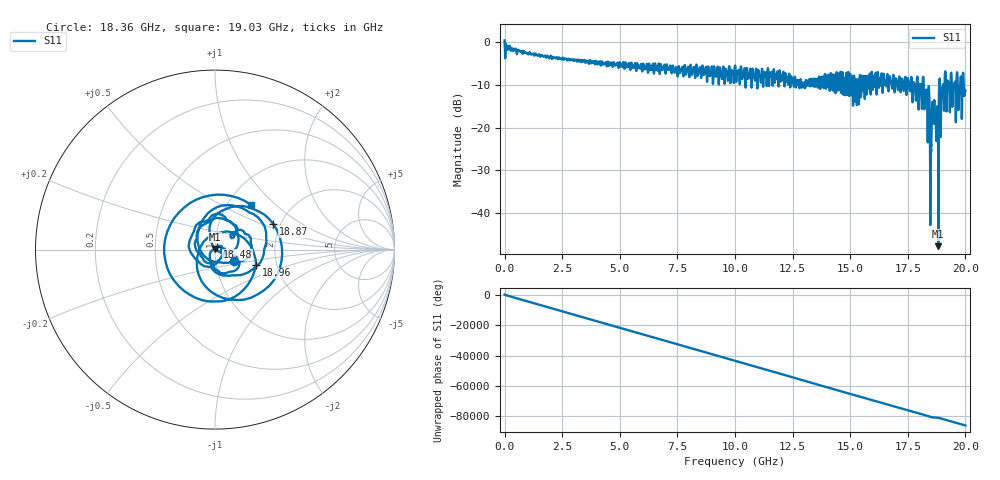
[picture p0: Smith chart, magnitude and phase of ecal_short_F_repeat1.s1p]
! MS46122B
! 2250307/22442219
! 7/28/2025 2:05:26 PM
! C:\USERS\SPARKY\DOCUMENTS\VNA_DATA\JULY28_2025\3K\ECAL_SHORT_F_REPEAT1.S1P
! CHANNEL.1
! TR.MEASUREMENT
! RAW.DATA
# GHZ S RI R 50.0
! FREQ.GHZ  S11RE  S11IM
!; PortSelection: Port_1
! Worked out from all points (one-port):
!   10001 points, 1 MHz to 20 GHz, reference 50 ohm
!   lowest |S11| = -47.8 dB at 18.83 GHz (marker M1), VSWR 1.01, Z = 50 + j0.409 ohm
!   |S11| at or under -10 dB: 18.19 GHz to 18.86 GHz (671.4 MHz wide, 3.62 % of centre); 18.9 GHz to 19.03 GHz (130.1 MHz wide, 0.686 % of centre); 19.67 GHz to 19.77 GHz (105.9 MHz wide, 0.537 % of centre) (the widest 3 of 83)
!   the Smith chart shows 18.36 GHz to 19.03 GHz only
!   S11 on the Smith chart (normalised r, x): 18.36 GHz: 1.23, -0.16; 18.48 GHz: 1.02, +0.03; 18.87 GHz: 1.83, +0.60; 18.96 GHz: 1.56, -0.29; 19.03 GHz: 1.28, +0.71
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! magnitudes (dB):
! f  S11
! 1 MHz  0.4
! 2.501 GHz  -3.8
! 5.001 GHz  -4.7
! 7.501 GHz  -7.7
! 10 GHz  -5.5
! 12.5 GHz  -8.8
! 15 GHz  -7.4
! 15.29 GHz  -14.6
! 16.02 GHz  -8.0
! 17.5 GHz  -8.4
! 18.04 GHz  -10.0
! 18.1 GHz  -13.2
! 18.36 GHz  -18.2
! 18.43 GHz  -11.4
! 18.48 GHz  -34.3
! 18.54 GHz  -16.5
! 18.62 GHz  -17.5
! 18.75 GHz  -21.5
! 18.83 GHz  -47.8
! 18.87 GHz  -9.0
! 18.96 GHz  -12.2
! 19.03 GHz  -9.9
! 19.2 GHz  -11.6
! 19.25 GHz  -10.1
! 19.46 GHz  -10.7
! 19.51 GHz  -10.7
! 19.56 GHz  -11.1
! 20 GHz  -11.4
